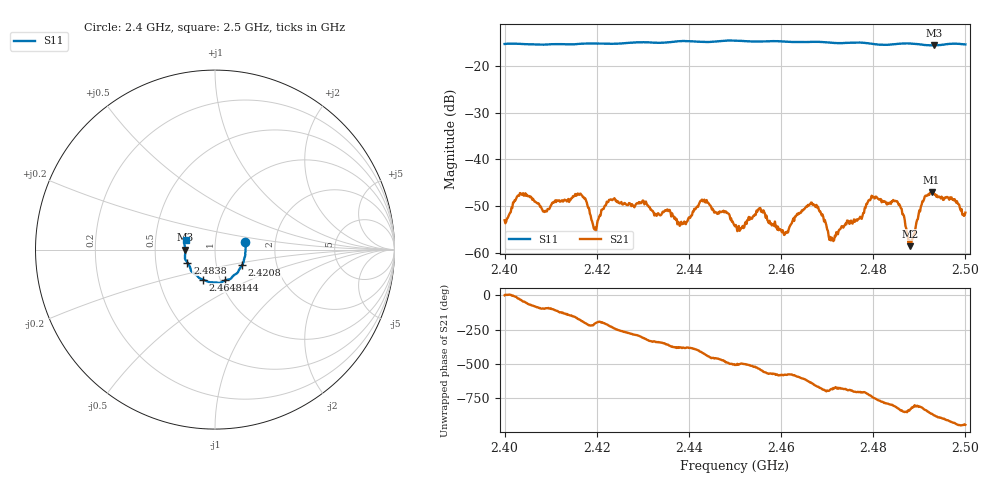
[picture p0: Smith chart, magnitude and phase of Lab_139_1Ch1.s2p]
# Hz S RI R 50
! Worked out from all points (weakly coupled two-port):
!   601 points, 2.4 GHz to 2.5 GHz, reference 50 ohm
!   highest |S21| = -47.08 dB at 2.4927 GHz (marker M1); lowest = -58.6 dB at 2.488 GHz (marker M2)
!   lowest |S11| = -15.6 dB at 2.4932 GHz (marker M3), VSWR 1.40, Z = 35.8 - j0.0622 ohm
!   |S11| at or under -10 dB: start of sweep to end of sweep
!   S12 and S22 are empty: the file has one direction only
!   S11 on the Smith chart (normalised r, x): 2.4 GHz: 1.40, +0.12; 2.4208 GHz: 1.33, -0.24; 2.444 GHz: 1.06, -0.37; 2.4648 GHz: 0.83, -0.29; 2.4838 GHz: 0.73, -0.11; 2.5 GHz: 0.72, +0.08
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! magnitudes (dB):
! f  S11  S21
! 2.4 GHz  -15.3  -53.1
! 2.4035 GHz  -15.3  -47.5
! 2.4087 GHz  -15.4  -51.3
! 2.4167 GHz  -15.2  -47.6
! 2.4195 GHz  -15.2  -55.0
! 2.4208 GHz  -15.2  -52.0
! 2.4333 GHz  -15.0  -51.6
! 2.439 GHz  -14.6  -53.3
! 2.444 GHz  -14.9  -49.3
! 2.45 GHz  -14.5  -54.4
! 2.4557 GHz  -14.8  -51.2
! 2.461 GHz  -14.8  -55.6
! 2.4648 GHz  -14.9  -50.8
! 2.4667 GHz  -14.8  -49.3
! 2.471 GHz  -15.0  -56.8
! 2.4795 GHz  -15.2  -48.4
! 2.4833 GHz  -15.4  -49.6
! 2.4838 GHz  -15.4  -49.6
! 2.488 GHz  -15.2  -58.6
! 2.4927 GHz  -15.6  -47.1
! 2.4932 GHz  -15.6  -47.4
! 2.5 GHz  -15.4  -51.4
